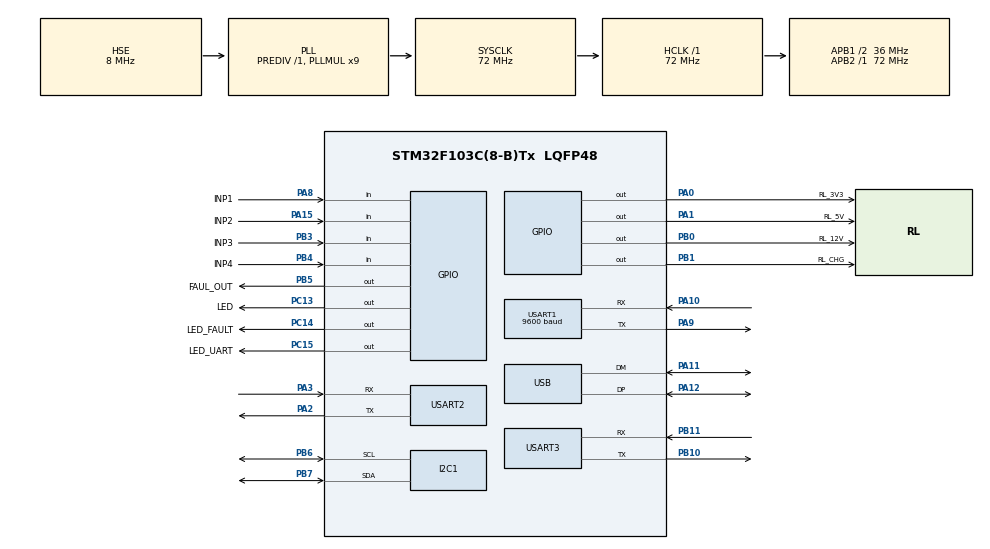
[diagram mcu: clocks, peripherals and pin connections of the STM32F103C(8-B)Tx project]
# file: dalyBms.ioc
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FREERTOS.Tasks01=defaultTask,0,128,StartDefaultTask,Default,NULL,Dynamic,NULL,NULL;bmsTask,0,512,StartBMSTask,Default,NULL,Dynamic,NULL,NULL;sk60xTask,0,256,StartSK60xTask,Default,NULL,Dynamic,NULL,NULL;ina219Task,0,128,StartTaskINA219,Default,NULL,Dynamic,NULL,NULL;modbusTask,0,128,StartTaskModbus,Default,NULL,Dynamic,NULL,NULL
FREERTOS.configTOTAL_HEAP_SIZE=10240
Mcu.Family=STM32F1
Mcu.Name=STM32F103C(8-B)Tx
Mcu.Package=LQFP48
NVIC.PriorityGroup=NVIC_PRIORITYGROUP_4
NVIC.TIM2_IRQn=true\:5\:0\:false\:false\:true\:true\:true\:true\:true
NVIC.USART1_IRQn=true\:5\:0\:false\:false\:true\:true\:true\:true\:true
NVIC.USART2_IRQn=true\:5\:0\:false\:false\:true\:true\:true\:true\:true
NVIC.USART3_IRQn=true\:5\:0\:false\:false\:true\:true\:true\:true\:true
NVIC.USB_LP_CAN1_RX0_IRQn=true\:5\:0\:false\:false\:true\:true\:true\:true\:true
PA0-WKUP.GPIO_Label=RL_3V3
PA0-WKUP.PinState=GPIO_PIN_RESET
PA0-WKUP.Signal=GPIO_Output
PA1.GPIO_Label=RL_5V
PA1.PinState=GPIO_PIN_RESET
PA1.Signal=GPIO_Output
PA10.Mode=Asynchronous
PA10.Signal=USART1_RX
PA11.Mode=Device
PA11.Signal=USB_DM
PA12.Mode=Device
PA12.Signal=USB_DP
PA13.Mode=Serial_Wire
PA13.Signal=SYS_JTMS-SWDIO
PA14.Mode=Serial_Wire
PA14.Signal=SYS_JTCK-SWCLK
PA15.GPIO_Label=INP2
PA15.Signal=GPIO_Input
PA2.Mode=Asynchronous
PA2.Signal=USART2_TX
PA3.Mode=Asynchronous
PA3.Signal=USART2_RX
PA8.GPIO_Label=INP1
PA8.Signal=GPIO_Input
PA9.Mode=Asynchronous
PA9.Signal=USART1_TX
PB0.GPIO_Label=RL_12V
PB0.PinState=GPIO_PIN_RESET
PB0.Signal=GPIO_Output
PB1.GPIO_Label=RL_CHG
PB1.PinState=GPIO_PIN_RESET
PB1.Signal=GPIO_Output
PB10.Mode=Asynchronous
PB10.Signal=USART3_TX
PB11.Mode=Asynchronous
PB11.Signal=USART3_RX
PB3.GPIO_Label=INP3
PB3.Signal=GPIO_Input
PB4.GPIO_Label=INP4
PB4.Signal=GPIO_Input
PB5.GPIO_Label=FAUL_OUT
PB5.PinState=GPIO_PIN_RESET
PB5.Signal=GPIO_Output
PB6.Mode=I2C
PB6.Signal=I2C1_SCL
PB7.Mode=I2C
PB7.Signal=I2C1_SDA
PC13-TAMPER-RTC.GPIO_Label=LED
PC13-TAMPER-RTC.Signal=GPIO_Output
PC14-OSC32_IN.GPIO_Label=LED_FAULT
PC14-OSC32_IN.Signal=GPIO_Output
PC15-OSC32_OUT.GPIO_Label=LED_UART
PC15-OSC32_OUT.Signal=GPIO_Output
PD0-OSC_IN.Mode=HSE-External-Oscillator
PD0-OSC_IN.Signal=RCC_OSC_IN
PD1-OSC_OUT.Mode=HSE-External-Oscillator
PD1-OSC_OUT.Signal=RCC_OSC_OUT
ProjectManager.HeapSize=0x200
ProjectManager.StackSize=0x400
ProjectManager.TargetToolchain=STM32CubeIDE
RCC.AHBFreq_Value=72000000
RCC.APB1CLKDivider=RCC_HCLK_DIV2
RCC.APB1Freq_Value=36000000
RCC.APB1TimFreq_Value=72000000
RCC.APB2Freq_Value=72000000
RCC.APB2TimFreq_Value=72000000
RCC.HCLKFreq_Value=72000000
RCC.PLLMUL=RCC_PLL_MUL9
RCC.PLLSourceVirtual=RCC_PLLSOURCE_HSE
RCC.SYSCLKFreq_VALUE=72000000
RCC.SYSCLKSource=RCC_SYSCLKSOURCE_PLLCLK
RCC.USBFreq_Value=48000000
RCC.USBPrescaler=RCC_USBCLKSOURCE_PLL_DIV1_5
USART1.BaudRate=9600
USART1.VirtualMode=VM_ASYNC
USART2.VirtualMode=VM_ASYNC
USART3.VirtualMode=VM_ASYNC
USB_DEVICE.APP_RX_DATA_SIZE=512
USB_DEVICE.APP_TX_DATA_SIZE=512
USB_DEVICE.CLASS_NAME_FS=CDC
USB_DEVICE.VirtualMode=Cdc
USB_DEVICE.VirtualModeFS=Cdc_FS
VP_FREERTOS_VS_CMSIS_V1.Mode=CMSIS_V1
VP_TIM2_VS_ClockSourceINT.Mode=Internal
VP_USB_DEVICE_VS_USB_DEVICE_CDC_FS.Mode=CDC_FS
board=custom

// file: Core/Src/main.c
/* USER CODE BEGIN Header */
/**
  ******************************************************************************
  * @file           : main.c
  * @brief          : Main program body
  ******************************************************************************
  * @attention
  *
  * Copyright (c) 2025 STMicroelectronics.
  * All rights reserved.
  *
  * This software is licensed under terms that can be found in the LICENSE file
  * in the root directory of this software component.
  * If no LICENSE file comes with this software, it is provided AS-IS.
  *
  ******************************************************************************
  */
/* USER CODE END Header */
#include "main.h"
#include "cmsis_os.h"
#include "usb_device.h"

I2C_HandleTypeDef hi2c1;

TIM_HandleTypeDef htim2;

UART_HandleTypeDef huart1;
UART_HandleTypeDef huart2;
UART_HandleTypeDef huart3;

osThreadId defaultTaskHandle;
osThreadId bmsTaskHandle;
osThreadId sk60xTaskHandle;
//osThreadId ina219TaskHandle;
osThreadId modbusTaskHandle;

// Removed uartMutexHandle - UART1 and UART2 are separate peripherals
/* USER CODE BEGIN PV */
// Variables for relay control logic (accessible from Modbus)
INA219_t ina_12v, ina_5v, ina_3v3;
bool relay_power_enabled = false;
float voltage_threshold = 13.5f;

// BMS Interrupt-driven variables are now handled in daly_bms.c
/* USER CODE END PV */

void SystemClock_Config(void);
static void MX_GPIO_Init(void);
static void MX_USART1_UART_Init(void);
static void MX_USART2_UART_Init(void);
static void MX_USART3_UART_Init(void);
static void MX_I2C1_Init(void);
static void MX_TIM2_Init(void);
void StartDefaultTask(void const * argument);
void StartBMSTask(void const * argument);
void StartSK60xTask(void const * argument);
//void StartTaskINA219(void const * argument);
void StartTaskModbus(void const * argument);

int main(void)
{

  /* MCU Configuration--------------------------------------------------------*/

  /* Reset of all peripherals, Initializes the Flash interface and the Systick. */
  HAL_Init();

  /* Configure the system clock */
  SystemClock_Config();

  /* Initialize all configured peripherals */
  MX_GPIO_Init();
  MX_USART1_UART_Init();
  MX_USART2_UART_Init();
  MX_USART3_UART_Init();
  MX_I2C1_Init();
  MX_TIM2_Init();
  /* USER CODE BEGIN 2 */
  DalyBMS_Set_Callback(DalyBMS_On_Request_Done);
//  Debug_Init();
//  Debug_SetMode(DEBUG_NONE);
  ModbusRTU_Init(&huart2);
  INA219_Init(&ina_12v, &hi2c1, INA219_ADDR_12V, 0.1f, 3.0f);   // Rshunt = 0.1Ω, max current 3A
  INA219_Init(&ina_5v,  &hi2c1, INA219_ADDR_5V,  0.1f, 3.0f);
  INA219_Init(&ina_3v3, &hi2c1, INA219_ADDR_3V3, 0.1f, 3.0f);
  /* USER CODE END 2 */

  /* USER CODE BEGIN RTOS_MUTEX */
	/* add mutexes, ... */
	// Removed UART mutex - UART1 and UART2 are separate peripherals
  /* USER CODE END RTOS_MUTEX */

  /* Create the thread(s) */
  /* definition and creation of defaultTask */
  osThreadDef(defaultTask, StartDefaultTask, osPriorityNormal, 0, 128);
  defaultTaskHandle = osThreadCreate(osThread(defaultTask), NULL);

  /* definition and creation of bmsTask */
  osThreadDef(bmsTask, StartBMSTask, osPriorityNormal, 0, 512);
  bmsTaskHandle = osThreadCreate(osThread(bmsTask), NULL);

  /* definition and creation of sk60xTask */
  osThreadDef(sk60xTask, StartSK60xTask, osPriorityNormal, 0, 256);
  sk60xTaskHandle = osThreadCreate(osThread(sk60xTask), NULL);

  /* definition and creation of ina219Task */
//  osThreadDef(ina219Task, StartTaskINA219, osPriorityNormal, 0, 128);
//  ina219TaskHandle = osThreadCreate(osThread(ina219Task), NULL);

  /* definition and creation of modbusTask */
  osThreadDef(modbusTask, StartTaskModbus, osPriorityNormal, 0, 128);
  modbusTaskHandle = osThreadCreate(osThread(modbusTask), NULL);

  /* Start scheduler */
  osKernelStart();

  /* We should never get here as control is now taken by the scheduler */

  /* Infinite loop */
	while (1)
	{

	}
}

void SystemClock_Config(void)
{
  RCC_OscInitTypeDef RCC_OscInitStruct = {0};
  RCC_ClkInitTypeDef RCC_ClkInitStruct = {0};
  RCC_PeriphCLKInitTypeDef PeriphClkInit = {0};

  /** Initializes the RCC Oscillators according to the specified parameters
  * in the RCC_OscInitTypeDef structure.
  */
  RCC_OscInitStruct.OscillatorType = RCC_OSCILLATORTYPE_HSE;
  RCC_OscInitStruct.HSEState = RCC_HSE_ON;
  RCC_OscInitStruct.HSEPredivValue = RCC_HSE_PREDIV_DIV1;
  RCC_OscInitStruct.HSIState = RCC_HSI_ON;
  RCC_OscInitStruct.PLL.PLLState = RCC_PLL_ON;
  RCC_OscInitStruct.PLL.PLLSource = RCC_PLLSOURCE_HSE;
  RCC_OscInitStruct.PLL.PLLMUL = RCC_PLL_MUL9;
  if (HAL_RCC_OscConfig(&RCC_OscInitStruct) != HAL_OK)
  {
    Error_Handler();
  }

  /** Initializes the CPU, AHB and APB buses clocks
  */
  RCC_ClkInitStruct.ClockType = RCC_CLOCKTYPE_HCLK|RCC_CLOCKTYPE_SYSCLK
                              |RCC_CLOCKTYPE_PCLK1|RCC_CLOCKTYPE_PCLK2;
  RCC_ClkInitStruct.SYSCLKSource = RCC_SYSCLKSOURCE_PLLCLK;
  RCC_ClkInitStruct.AHBCLKDivider = RCC_SYSCLK_DIV1;
  RCC_ClkInitStruct.APB1CLKDivider = RCC_HCLK_DIV2;
  RCC_ClkInitStruct.APB2CLKDivider = RCC_HCLK_DIV1;

  if (HAL_RCC_ClockConfig(&RCC_ClkInitStruct, FLASH_LATENCY_2) != HAL_OK)
  {
    Error_Handler();
  }
  PeriphClkInit.PeriphClockSelection = RCC_PERIPHCLK_USB;
  PeriphClkInit.UsbClockSelection = RCC_USBCLKSOURCE_PLL_DIV1_5;
  if (HAL_RCCEx_PeriphCLKConfig(&PeriphClkInit) != HAL_OK)
  {
    Error_Handler();
  }
}

static void MX_I2C1_Init(void)
{

  hi2c1.Instance = I2C1;
  hi2c1.Init.ClockSpeed = 100000;
  hi2c1.Init.DutyCycle = I2C_DUTYCYCLE_2;
  hi2c1.Init.OwnAddress1 = 0;
  hi2c1.Init.AddressingMode = I2C_ADDRESSINGMODE_7BIT;
  hi2c1.Init.DualAddressMode = I2C_DUALADDRESS_DISABLE;
  hi2c1.Init.OwnAddress2 = 0;
  hi2c1.Init.GeneralCallMode = I2C_GENERALCALL_DISABLE;
  hi2c1.Init.NoStretchMode = I2C_NOSTRETCH_DISABLE;
  if (HAL_I2C_Init(&hi2c1) != HAL_OK)
  {
    Error_Handler();
  }

}

static void MX_TIM2_Init(void)
{

  TIM_ClockConfigTypeDef sClockSourceConfig = {0};
  TIM_MasterConfigTypeDef sMasterConfig = {0};

  htim2.Instance = TIM2;
  htim2.Init.Prescaler = 0;
  htim2.Init.CounterMode = TIM_COUNTERMODE_UP;
  htim2.Init.Period = 65535;
  htim2.Init.ClockDivision = TIM_CLOCKDIVISION_DIV1;
  htim2.Init.AutoReloadPreload = TIM_AUTORELOAD_PRELOAD_DISABLE;
  if (HAL_TIM_Base_Init(&htim2) != HAL_OK)
  {
    Error_Handler();
  }
  sClockSourceConfig.ClockSource = TIM_CLOCKSOURCE_INTERNAL;
  if (HAL_TIM_ConfigClockSource(&htim2, &sClockSourceConfig) != HAL_OK)
  {
    Error_Handler();
  }
  sMasterConfig.MasterOutputTrigger = TIM_TRGO_RESET;
  sMasterConfig.MasterSlaveMode = TIM_MASTERSLAVEMODE_DISABLE;
  if (HAL_TIMEx_MasterConfigSynchronization(&htim2, &sMasterConfig) != HAL_OK)
  {
    Error_Handler();
  }

}

static void MX_USART1_UART_Init(void)
{

  huart1.Instance = USART1;
  huart1.Init.BaudRate = 9600;
  huart1.Init.WordLength = UART_WORDLENGTH_8B;
  huart1.Init.StopBits = UART_STOPBITS_1;
  huart1.Init.Parity = UART_PARITY_NONE;
  huart1.Init.Mode = UART_MODE_TX_RX;
  huart1.Init.HwFlowCtl = UART_HWCONTROL_NONE;
  huart1.Init.OverSampling = UART_OVERSAMPLING_16;
  if (HAL_UART_Init(&huart1) != HAL_OK)
  {
    Error_Handler();
  }

}

static void MX_USART2_UART_Init(void)
{

  huart2.Instance = USART2;
  huart2.Init.BaudRate = 115200;
  huart2.Init.WordLength = UART_WORDLENGTH_8B;
  huart2.Init.StopBits = UART_STOPBITS_1;
  huart2.Init.Parity = UART_PARITY_NONE;
  huart2.Init.Mode = UART_MODE_TX_RX;
  huart2.Init.HwFlowCtl = UART_HWCONTROL_NONE;
  huart2.Init.OverSampling = UART_OVERSAMPLING_16;
  if (HAL_UART_Init(&huart2) != HAL_OK)
  {
    Error_Handler();
  }

}

static void MX_USART3_UART_Init(void)
{

  huart3.Instance = USART3;
  huart3.Init.BaudRate = 115200;
  huart3.Init.WordLength = UART_WORDLENGTH_8B;
  huart3.Init.StopBits = UART_STOPBITS_1;
  huart3.Init.Parity = UART_PARITY_NONE;
  huart3.Init.Mode = UART_MODE_TX_RX;
  huart3.Init.HwFlowCtl = UART_HWCONTROL_NONE;
  huart3.Init.OverSampling = UART_OVERSAMPLING_16;
  if (HAL_UART_Init(&huart3) != HAL_OK)
  {
    Error_Handler();
  }

}

static void MX_GPIO_Init(void)
{
  GPIO_InitTypeDef GPIO_InitStruct = {0};

  /* GPIO Ports Clock Enable */
  __HAL_RCC_GPIOC_CLK_ENABLE();
  __HAL_RCC_GPIOD_CLK_ENABLE();
  __HAL_RCC_GPIOA_CLK_ENABLE();
  __HAL_RCC_GPIOB_CLK_ENABLE();

  /*Configure GPIO pin Output Level */
  HAL_GPIO_WritePin(GPIOC, LED_Pin|LED_FAULT_Pin|LED_UART_Pin, GPIO_PIN_RESET);

  /*Configure GPIO pin Output Level */
  HAL_GPIO_WritePin(GPIOA, RL_3V3_Pin|RL_5V_Pin, GPIO_PIN_RESET);

  /*Configure GPIO pin Output Level */
  HAL_GPIO_WritePin(GPIOB, RL_12V_Pin|RL_CHG_Pin|FAUL_OUT_Pin, GPIO_PIN_RESET);

  /*Configure GPIO pins : LED_Pin LED_FAULT_Pin LED_UART_Pin */
  GPIO_InitStruct.Pin = LED_Pin|LED_FAULT_Pin|LED_UART_Pin;
  GPIO_InitStruct.Mode = GPIO_MODE_OUTPUT_PP;
  GPIO_InitStruct.Pull = GPIO_NOPULL;
  GPIO_InitStruct.Speed = GPIO_SPEED_FREQ_LOW;
  HAL_GPIO_Init(GPIOC, &GPIO_InitStruct);

  /*Configure GPIO pins : RL_3V3_Pin RL_5V_Pin */
  GPIO_InitStruct.Pin = RL_3V3_Pin|RL_5V_Pin;
  GPIO_InitStruct.Mode = GPIO_MODE_OUTPUT_PP;
  GPIO_InitStruct.Pull = GPIO_NOPULL;
  GPIO_InitStruct.Speed = GPIO_SPEED_FREQ_LOW;
  HAL_GPIO_Init(GPIOA, &GPIO_InitStruct);

  /*Configure GPIO pins : RL_12V_Pin RL_CHG_Pin FAUL_OUT_Pin */
  GPIO_InitStruct.Pin = RL_12V_Pin|RL_CHG_Pin|FAUL_OUT_Pin;
  GPIO_InitStruct.Mode = GPIO_MODE_OUTPUT_PP;
  GPIO_InitStruct.Pull = GPIO_NOPULL;
  GPIO_InitStruct.Speed = GPIO_SPEED_FREQ_LOW;
  HAL_GPIO_Init(GPIOB, &GPIO_InitStruct);

  /*Configure GPIO pins : INP1_Pin INP2_Pin */
  GPIO_InitStruct.Pin = INP1_Pin|INP2_Pin;
  GPIO_InitStruct.Mode = GPIO_MODE_INPUT;
  GPIO_InitStruct.Pull = GPIO_NOPULL;
  HAL_GPIO_Init(GPIOA, &GPIO_InitStruct);

  /*Configure GPIO pins : INP3_Pin INP4_Pin */
  GPIO_InitStruct.Pin = INP3_Pin|INP4_Pin;
  GPIO_InitStruct.Mode = GPIO_MODE_INPUT;
  GPIO_InitStruct.Pull = GPIO_NOPULL;
  HAL_GPIO_Init(GPIOB, &GPIO_InitStruct);

}

/* USER CODE BEGIN 4 */

/**
 * @brief UART Rx Complete Callback
 * @param huart: UART handle pointer
 */
void HAL_UART_RxCpltCallback(UART_HandleTypeDef *huart)
{
    // Handle UART2 (Modbus RTU) callbacks
    if (huart->Instance == USART2) {
        ModbusRTU_RxCpltCallback(huart);
    }
    // Handle UART1 (BMS) callbacks - interrupt-driven
    else if (huart->Instance == USART1) {
        DalyBMS_RxCpltCallback();
    }
    // UART3 can be added here if needed
}

void HAL_UART_TxCpltCallback(UART_HandleTypeDef *huart)
{
    // Handle UART1 (BMS) transmission complete
    if (huart->Instance == USART1) {
        DalyBMS_TxCpltCallback();
    }
}

void HAL_UART_ErrorCallback(UART_HandleTypeDef *huart)
{
    // Handle UART2 (Modbus RTU) error callbacks
    if (huart->Instance == USART2) {
        ModbusRTU_ErrorCallback(huart);
    }
    // Handle UART1 (BMS) error callbacks - reset BMS connection on error
    else if (huart->Instance == USART1) {
        HAL_GPIO_TogglePin(LED_FAULT_GPIO_Port, LED_FAULT_Pin);  // Debug: BMS UART error
        // Reset BMS connection status on UART error
        bms_data.connection_status = false;
    }
    // UART3 can be added here if needed
}

/* USER CODE END 4 */

void StartDefaultTask(void const * argument)
{
  /* init code for USB_DEVICE */
  // MX_USB_DEVICE_Init();
  /* USER CODE BEGIN 5 */
    /* Infinite loop */
    for(;;)
    {
//    	Debug_USB_Process();
		// Control relay based on BMS voltage with hysteresis
		if (!relay_power_enabled && bms_data.voltage > voltage_threshold) {
			// Enable relay power rails when voltage > 13.5V
			HAL_GPIO_WritePin(GPIOA, RL_3V3_Pin|RL_5V_Pin, GPIO_PIN_SET);
			HAL_GPIO_WritePin(GPIOB, RL_12V_Pin, GPIO_PIN_SET);
			relay_power_enabled = true;
		} else if (relay_power_enabled && bms_data.voltage < voltage_threshold) {
			// Disable relay power rails when voltage < 13.0V
			HAL_GPIO_WritePin(GPIOA, RL_3V3_Pin|RL_5V_Pin, GPIO_PIN_RESET);
			HAL_GPIO_WritePin(GPIOB, RL_12V_Pin, GPIO_PIN_RESET);
			relay_power_enabled = false;
		}
		HAL_GPIO_TogglePin(LED_GPIO_Port, LED_Pin);

		osDelay(500);
	}
  /* USER CODE END 5 */
}

void StartBMSTask(void const * argument)
{
  /* USER CODE BEGIN StartBMSTask */
	memset(_tx_buffer, 0x00, FRAME_SIZE);
	DalyBMS_Clear_Get(&bms_data);
	/* Infinite loop */
	for(;;)
	{
		// BMS runs independently - no need to check Modbus status
		switch (_request_counter)
	    {
	  		case 0: // Request pack data & connectivity status
	  			if (DalyBMS_Get_Pack_Data())
	  			{
	  				// LED sáng khi BMS kết nối thành công
	  				HAL_GPIO_WritePin(LED_GPIO_Port, LED_UART_Pin, GPIO_PIN_SET);
	  				bms_data.connection_status = true;
	  				_error_counter = 0; // Reset error counter on successful data retrieval
	  				_request_counter++;
	  			}
	  			else
	  			{
	  				// LED tắt khi BMS mất kết nối
	  				HAL_GPIO_WritePin(LED_GPIO_Port, LED_UART_Pin, GPIO_PIN_RESET);
	  				_request_counter = 0; // Reset request counter on failure
	  				if (_error_counter < MAX_ERROR) {
	  					_error_counter++;
	  				}
	  				else
	  				{
	  					bms_data.connection_status = false; // Set connection status to false after max errors
	  					_error_counter = 0; // Reset error counter after max errors
	  					if (_bms_request_callback) _bms_request_callback();
	  				}
	  			}
	  			//Debug_Printf("BMS request counter: %d\n", _request_counter);
	  			break;
		  		case 1: // Request min/max cell voltage
		  			_request_counter = DalyBMS_Get_Min_Max_Cell_Voltage() ? (_request_counter + 1) : 0;
		//	  			Debug_Printf("BMS request counter: %d\n", _request_counter);
		  			break;
		  		case 2: // Request min/max temperature
		  			_request_counter = DalyBMS_Get_Pack_Temperature() ? (_request_counter + 1) : 0;
		//	  			Debug_Printf("BMS request counter: %d\n", _request_counter);
		  			break;
		  		case 3: // Request charge/discharge MOS status
		  			_request_counter = DalyBMS_Get_Charge_Discharge_Status() ? (_request_counter + 1) : 0;
		//	  			Debug_Printf("BMS request counter: %d\n", _request_counter);
		  			break;
		  		case 4: // Request status info
		  			//Debug_Printf("In case 4!\n");
		  			_request_counter = DalyBMS_Get_Status_Info() ? (_request_counter + 1) : 0;
		//	  			Debug_Printf("BMS request counter: %d\n", _request_counter);
		  			break;
		  		case 5: // Request cell voltages
		  			_request_counter = DalyBMS_Get_Cell_Voltages() ? (_request_counter + 1) : 0;
		//	  			Debug_Printf("BMS request counter: %d\n", _request_counter);
		  			break;
		  		case 6: // Request cell temperatures
		  			_request_counter = DalyBMS_Get_Cell_Temperatures() ? (_request_counter + 1) : 0;
		//	  			Debug_Printf("BMS request counter: %d\n", _request_counter);
		  			break;
		  		case 7: // Request cell balance state
		  			_request_counter = DalyBMS_Get_Cell_Balance_State() ? (_request_counter + 1) : 0;
		//	  			Debug_Printf("BMS request counter: %d\n", _request_counter);
		  			break;
		  		case 8: // Request failure codes
		  			_request_counter = DalyBMS_Get_Failure_Codes() ? (_request_counter + 1) : 0;
		  			if (_get_static_data) _request_counter = 0; // Reset request counter if static data is requested
		  			if (_bms_request_callback) _bms_request_callback();
		  			break;
		  		case 9: // Request Voltage Thresholds
		  			if (!_get_static_data) _request_counter = DalyBMS_Get_Voltage_Thresholds() ? (_request_counter + 1) : 0;
		  			if (_bms_request_callback) _bms_request_callback();
		  			break;
		  		case 10: // Request Pack Thresholds
		  			if (!_get_static_data) _request_counter = DalyBMS_Get_Pack_Thresholds() ? (_request_counter + 1) : 0;
		  			_request_counter = 0; // Reset request counter after pack thresholds
		  			if (_bms_request_callback) _bms_request_callback();
		  			_get_static_data = true;
		  			break;
		  		default:
		  			break;
		    }
		osDelay(50);  // Increased delay for better stability
  }
  /* USER CODE END StartBMSTask */
}

void StartSK60xTask(void const * argument)
{
  /* USER CODE BEGIN StartSK60xTask */
  /* Infinite loop */
  for(;;)
  {
	  ChargeControl_Process();
	  osDelay(100);
  }
  /* USER CODE END StartSK60xTask */
}

//void StartTaskINA219(void const * argument)
//{
//  /* USER CODE BEGIN StartTaskINA219 */
//  INA219_Init(&ina_12v, &hi2c1, INA219_ADDR_12V, 0.1f, 3.0f);   // Rshunt = 0.1Ω, max current 3A
//  INA219_Init(&ina_5v,  &hi2c1, INA219_ADDR_5V,  0.1f, 3.0f);
//  INA219_Init(&ina_3v3, &hi2c1, INA219_ADDR_3V3, 0.1f, 3.0f);
//
//  /* Infinite loop */
//  for(;;)
//  {
//    osDelay(1000);
//  }
//  /* USER CODE END StartTaskINA219 */
//}

void StartTaskModbus(void const * argument)
{
  /* USER CODE BEGIN StartTaskModbus */
  /* Infinite loop */
  for(;;)
  {
	  // Use the proper Modbus processing function
	  ModbusRTU_Process();

	  // Reset if no activity for 10 seconds
	  if(HAL_GetTick() - modbus_rtu.last_rx_time > 10000) {
		  ModbusRTU_Reset();
		  modbus_rtu.last_rx_time = HAL_GetTick();
	  }

	  osDelay(10);  // Reduced delay for better responsiveness
  }
  /* USER CODE END StartTaskModbus */
}

void Error_Handler(void)
{
  /* USER CODE BEGIN Error_Handler_Debug */
  /* User can add his own implementation to report the HAL error return state */
  __disable_irq();
  while (1)
  {
//	  HAL_GPIO_TogglePin(GPIOC, LED_FAULT_Pin);
	  osDelay(100);
  }
  /* USER CODE END Error_Handler_Debug */
}
